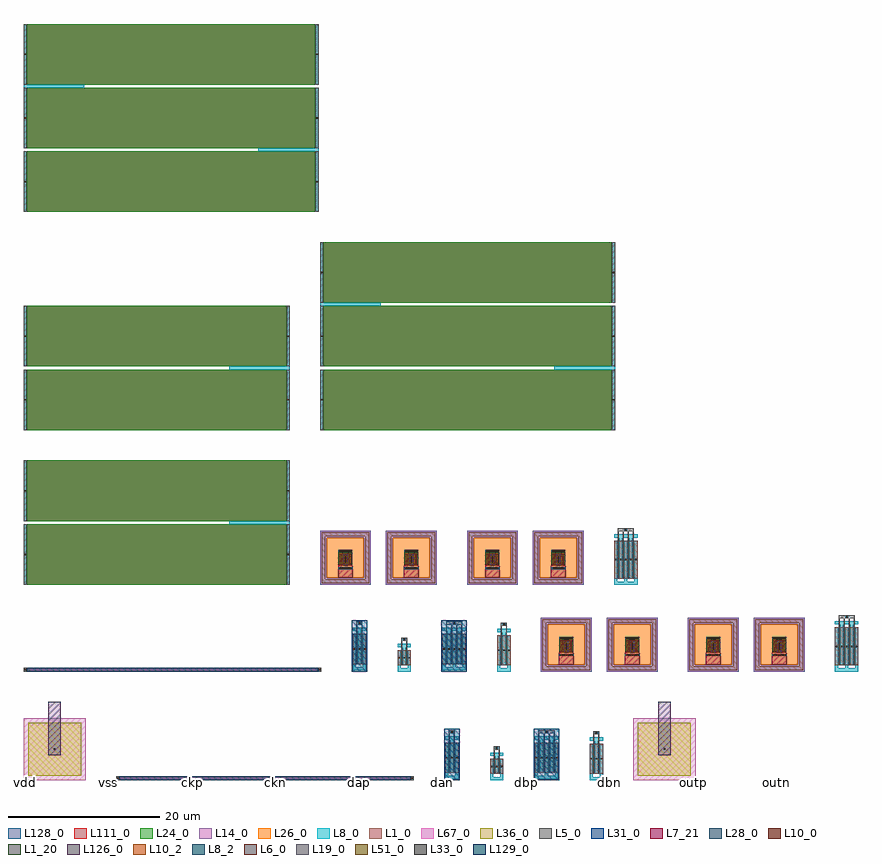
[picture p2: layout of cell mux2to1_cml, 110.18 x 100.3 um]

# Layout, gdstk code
import gdstk
lib = gdstk.Library(unit=1e-6, precision=1e-09)
def R(c, l, rs):  # rectangles x0, y0, x1, y1
    for r in rs: c.add(gdstk.rectangle(r[:2], r[2:], *l))
def A(c, l, x, y, w, h, nx, ny, dx, dy):  # array of equal rectangles
    R(c, l, [(x+i*dx, y+j*dy, x+i*dx+w, y+j*dy+h) for i in range(nx) for j in range(ny)])
def P(c, l, *ps):  # polygons
    for p in ps: c.add(gdstk.Polygon(p, *l))
L1_0 = (1, 0)
L1_20 = (1, 20)
L5_0 = (5, 0)
L6_0 = (6, 0)
L7_21 = (7, 21)
L8_0 = (8, 0)
L8_2 = (8, 2)
L10_0 = (10, 0)
L10_2 = (10, 2)
L14_0 = (14, 0)
L19_0 = (19, 0)
L24_0 = (24, 0)
L26_0 = (26, 0)
L28_0 = (28, 0)
L31_0 = (31, 0)
L33_0 = (33, 0)
L36_0 = (36, 0)
L51_0 = (51, 0)
L67_0 = (67, 0)
L111_0 = (111, 0)
L126_0 = (126, 0)
L128_0 = (128, 0)
L129_0 = (129, 0)

mux2to1_cml_xcca__core = lib.new_cell('mux2to1_cml_XCca__core')
R(mux2to1_cml_xcca__core, L36_0, [(0.6,0.6,7.6,7.6)])
R(mux2to1_cml_xcca__core, L67_0, [(0,0,8.2,8.2)])
R(mux2to1_cml_xcca__core, L126_0, [(3.28,3.28,4.92,4.92), (3.28,4.92,4.92,8.7), (3.28,8.7,4.92,10.34)])
R(mux2to1_cml_xcca__core, L129_0, [(3.99,3.99,4.21,4.21)])

mux2to1_cml_xcca = lib.new_cell('mux2to1_cml_XCca')
mux2to1_cml_xcca.add(gdstk.Reference(mux2to1_cml_xcca__core, (0,0)))

mux2to1_cml_xrfa__core = lib.new_cell('mux2to1_cml_XRfa__core')
R(mux2to1_cml_xrfa__core, L5_0, [(0,0,0.42,0.5), (38.88,0,39.3,0.5)])
R(mux2to1_cml_xrfa__core, L6_0, [(0.13,0.17,0.29,0.33), (39.01,0.17,39.17,0.33)])
R(mux2to1_cml_xrfa__core, L8_0, [(0,0,0.42,0.5), (38.88,0,39.3,0.5)])
R(mux2to1_cml_xrfa__core, L14_0, [(0.42,0,38.88,0.5)])
R(mux2to1_cml_xrfa__core, L28_0, [(0.42,0,38.88,0.5)])
R(mux2to1_cml_xrfa__core, L111_0, [(0.42,0,38.88,0.5)])
R(mux2to1_cml_xrfa__core, L128_0, [(0.42,0,38.88,0.5)])

mux2to1_cml_xrfa = lib.new_cell('mux2to1_cml_XRfa')
mux2to1_cml_xrfa.add(gdstk.Reference(mux2to1_cml_xrfa__core, (0,0)))

mux2to1_cml_xmp1a__core = lib.new_cell('mux2to1_cml_XMP1a__core')
R(mux2to1_cml_xmp1a__core, L1_0, [(0,0.82,1.76,4.82)])
R(mux2to1_cml_xmp1a__core, L5_0, [(0.48,0.82,0.61,6.04), (1.15,0.82,1.28,6.04), (0.48,6.04,1.28,6.46)])
A(mux2to1_cml_xmp1a__core, L6_0, 0.13, 2.74, 0.16, 0.16, 3, 1, 0.67, 0)
R(mux2to1_cml_xmp1a__core, L6_0, [(0.8,6.17,0.96,6.33)])
A(mux2to1_cml_xmp1a__core, L8_0, 0, 0.82, 0.42, 4, 3, 1, 0.67, 0)
R(mux2to1_cml_xmp1a__core, L8_0, [(0,0,1.76,0.42), (0,0.42,0.42,0.82), (1.34,0.42,1.76,0.82), (0.67,4.82,1.09,5.22), (0,5.22,1.76,5.64), (0.67,6.04,1.09,6.46)])
R(mux2to1_cml_xmp1a__core, L31_0, [(-0.15,-0.15,1.91,6.61)])

mux2to1_cml_xmp1a = lib.new_cell('mux2to1_cml_XMP1a')
mux2to1_cml_xmp1a.add(gdstk.Reference(mux2to1_cml_xmp1a__core, (0,0)))

mux2to1_cml_xmn1a__core = lib.new_cell('mux2to1_cml_XMN1a__core')
R(mux2to1_cml_xmn1a__core, L1_0, [(0,0.82,1.76,2.82)])
R(mux2to1_cml_xmn1a__core, L5_0, [(0.48,0.82,0.61,4.04), (1.15,0.82,1.28,4.04), (0.48,4.04,1.28,4.46)])
A(mux2to1_cml_xmn1a__core, L6_0, 0.13, 1.74, 0.16, 0.16, 3, 1, 0.67, 0)
R(mux2to1_cml_xmn1a__core, L6_0, [(0.8,4.17,0.96,4.33)])
A(mux2to1_cml_xmn1a__core, L8_0, 0, 0.82, 0.42, 2, 3, 1, 0.67, 0)
R(mux2to1_cml_xmn1a__core, L8_0, [(0,0,1.76,0.42), (0,0.42,0.42,0.82), (1.34,0.42,1.76,0.82), (0.67,2.82,1.09,3.22), (0,3.22,1.76,3.64), (0.67,4.04,1.09,4.46)])

mux2to1_cml_xmn1a = lib.new_cell('mux2to1_cml_XMN1a')
mux2to1_cml_xmn1a.add(gdstk.Reference(mux2to1_cml_xmn1a__core, (0,0)))

mux2to1_cml_xmp2a__core = lib.new_cell('mux2to1_cml_XMP2a__core')
R(mux2to1_cml_xmp2a__core, L1_0, [(0,0.82,3.1,4.82)])
A(mux2to1_cml_xmp2a__core, L5_0, 0.48, 0.82, 0.13, 5.22, 4, 1, 0.67, 0)
R(mux2to1_cml_xmp2a__core, L5_0, [(0.48,6.04,2.62,6.46)])
A(mux2to1_cml_xmp2a__core, L6_0, 0.13, 2.74, 0.16, 0.16, 5, 1, 0.67, 0)
R(mux2to1_cml_xmp2a__core, L6_0, [(1.47,6.17,1.63,6.33)])
A(mux2to1_cml_xmp2a__core, L8_0, 0, 0.42, 0.42, 0.4, 3, 1, 1.34, 0)
A(mux2to1_cml_xmp2a__core, L8_0, 0, 0.82, 0.42, 4, 5, 1, 0.67, 0)
R(mux2to1_cml_xmp2a__core, L8_0, [(0,0,3.1,0.42), (0.67,4.82,1.09,5.22), (2.01,4.82,2.43,5.22), (0,5.22,3.1,5.64), (1.34,6.04,1.76,6.46)])
R(mux2to1_cml_xmp2a__core, L31_0, [(-0.15,-0.15,3.25,6.61)])

mux2to1_cml_xmp2a = lib.new_cell('mux2to1_cml_XMP2a')
mux2to1_cml_xmp2a.add(gdstk.Reference(mux2to1_cml_xmp2a__core, (0,0)))

mux2to1_cml_xmn2a__core = lib.new_cell('mux2to1_cml_XMN2a__core')
R(mux2to1_cml_xmn2a__core, L1_0, [(0,0.82,1.76,4.82)])
R(mux2to1_cml_xmn2a__core, L5_0, [(0.48,0.82,0.61,6.04), (1.15,0.82,1.28,6.04), (0.48,6.04,1.28,6.46)])
A(mux2to1_cml_xmn2a__core, L6_0, 0.13, 2.74, 0.16, 0.16, 3, 1, 0.67, 0)
R(mux2to1_cml_xmn2a__core, L6_0, [(0.8,6.17,0.96,6.33)])
A(mux2to1_cml_xmn2a__core, L8_0, 0, 0.82, 0.42, 4, 3, 1, 0.67, 0)
R(mux2to1_cml_xmn2a__core, L8_0, [(0,0,1.76,0.42), (0,0.42,0.42,0.82), (1.34,0.42,1.76,0.82), (0.67,4.82,1.09,5.22), (0,5.22,1.76,5.64), (0.67,6.04,1.09,6.46)])

mux2to1_cml_xmn2a = lib.new_cell('mux2to1_cml_XMN2a')
mux2to1_cml_xmn2a.add(gdstk.Reference(mux2to1_cml_xmn2a__core, (0,0)))

mux2to1_cml_xccb__core = lib.new_cell('mux2to1_cml_XCcb__core')
R(mux2to1_cml_xccb__core, L36_0, [(0.6,0.6,7.6,7.6)])
R(mux2to1_cml_xccb__core, L67_0, [(0,0,8.2,8.2)])
R(mux2to1_cml_xccb__core, L126_0, [(3.28,3.28,4.92,4.92), (3.28,4.92,4.92,8.7), (3.28,8.7,4.92,10.34)])
R(mux2to1_cml_xccb__core, L129_0, [(3.99,3.99,4.21,4.21)])

mux2to1_cml_xccb = lib.new_cell('mux2to1_cml_XCcb')
mux2to1_cml_xccb.add(gdstk.Reference(mux2to1_cml_xccb__core, (0,0)))

mux2to1_cml_xrfb__core = lib.new_cell('mux2to1_cml_XRfb__core')
R(mux2to1_cml_xrfb__core, L5_0, [(0,0,0.42,0.5), (38.88,0,39.3,0.5)])
R(mux2to1_cml_xrfb__core, L6_0, [(0.13,0.17,0.29,0.33), (39.01,0.17,39.17,0.33)])
R(mux2to1_cml_xrfb__core, L8_0, [(0,0,0.42,0.5), (38.88,0,39.3,0.5)])
R(mux2to1_cml_xrfb__core, L14_0, [(0.42,0,38.88,0.5)])
R(mux2to1_cml_xrfb__core, L28_0, [(0.42,0,38.88,0.5)])
R(mux2to1_cml_xrfb__core, L111_0, [(0.42,0,38.88,0.5)])
R(mux2to1_cml_xrfb__core, L128_0, [(0.42,0,38.88,0.5)])

mux2to1_cml_xrfb = lib.new_cell('mux2to1_cml_XRfb')
mux2to1_cml_xrfb.add(gdstk.Reference(mux2to1_cml_xrfb__core, (0,0)))

mux2to1_cml_xmp1b__core = lib.new_cell('mux2to1_cml_XMP1b__core')
R(mux2to1_cml_xmp1b__core, L1_0, [(0,0.82,1.76,4.82)])
R(mux2to1_cml_xmp1b__core, L5_0, [(0.48,0.82,0.61,6.04), (1.15,0.82,1.28,6.04), (0.48,6.04,1.28,6.46)])
A(mux2to1_cml_xmp1b__core, L6_0, 0.13, 2.74, 0.16, 0.16, 3, 1, 0.67, 0)
R(mux2to1_cml_xmp1b__core, L6_0, [(0.8,6.17,0.96,6.33)])
A(mux2to1_cml_xmp1b__core, L8_0, 0, 0.82, 0.42, 4, 3, 1, 0.67, 0)
R(mux2to1_cml_xmp1b__core, L8_0, [(0,0,1.76,0.42), (0,0.42,0.42,0.82), (1.34,0.42,1.76,0.82), (0.67,4.82,1.09,5.22), (0,5.22,1.76,5.64), (0.67,6.04,1.09,6.46)])
R(mux2to1_cml_xmp1b__core, L31_0, [(-0.15,-0.15,1.91,6.61)])

mux2to1_cml_xmp1b = lib.new_cell('mux2to1_cml_XMP1b')
mux2to1_cml_xmp1b.add(gdstk.Reference(mux2to1_cml_xmp1b__core, (0,0)))

mux2to1_cml_xmn1b__core = lib.new_cell('mux2to1_cml_XMN1b__core')
R(mux2to1_cml_xmn1b__core, L1_0, [(0,0.82,1.76,2.82)])
R(mux2to1_cml_xmn1b__core, L5_0, [(0.48,0.82,0.61,4.04), (1.15,0.82,1.28,4.04), (0.48,4.04,1.28,4.46)])
A(mux2to1_cml_xmn1b__core, L6_0, 0.13, 1.74, 0.16, 0.16, 3, 1, 0.67, 0)
R(mux2to1_cml_xmn1b__core, L6_0, [(0.8,4.17,0.96,4.33)])
A(mux2to1_cml_xmn1b__core, L8_0, 0, 0.82, 0.42, 2, 3, 1, 0.67, 0)
R(mux2to1_cml_xmn1b__core, L8_0, [(0,0,1.76,0.42), (0,0.42,0.42,0.82), (1.34,0.42,1.76,0.82), (0.67,2.82,1.09,3.22), (0,3.22,1.76,3.64), (0.67,4.04,1.09,4.46)])

mux2to1_cml_xmn1b = lib.new_cell('mux2to1_cml_XMN1b')
mux2to1_cml_xmn1b.add(gdstk.Reference(mux2to1_cml_xmn1b__core, (0,0)))

mux2to1_cml_xmp2b__core = lib.new_cell('mux2to1_cml_XMP2b__core')
R(mux2to1_cml_xmp2b__core, L1_0, [(0,0.82,3.1,4.82)])
A(mux2to1_cml_xmp2b__core, L5_0, 0.48, 0.82, 0.13, 5.22, 4, 1, 0.67, 0)
R(mux2to1_cml_xmp2b__core, L5_0, [(0.48,6.04,2.62,6.46)])
A(mux2to1_cml_xmp2b__core, L6_0, 0.13, 2.74, 0.16, 0.16, 5, 1, 0.67, 0)
R(mux2to1_cml_xmp2b__core, L6_0, [(1.47,6.17,1.63,6.33)])
A(mux2to1_cml_xmp2b__core, L8_0, 0, 0.42, 0.42, 0.4, 3, 1, 1.34, 0)
A(mux2to1_cml_xmp2b__core, L8_0, 0, 0.82, 0.42, 4, 5, 1, 0.67, 0)
R(mux2to1_cml_xmp2b__core, L8_0, [(0,0,3.1,0.42), (0.67,4.82,1.09,5.22), (2.01,4.82,2.43,5.22), (0,5.22,3.1,5.64), (1.34,6.04,1.76,6.46)])
R(mux2to1_cml_xmp2b__core, L31_0, [(-0.15,-0.15,3.25,6.61)])

mux2to1_cml_xmp2b = lib.new_cell('mux2to1_cml_XMP2b')
mux2to1_cml_xmp2b.add(gdstk.Reference(mux2to1_cml_xmp2b__core, (0,0)))

mux2to1_cml_xmn2b__core = lib.new_cell('mux2to1_cml_XMN2b__core')
R(mux2to1_cml_xmn2b__core, L1_0, [(0,0.82,1.76,4.82)])
R(mux2to1_cml_xmn2b__core, L5_0, [(0.48,0.82,0.61,6.04), (1.15,0.82,1.28,6.04), (0.48,6.04,1.28,6.46)])
A(mux2to1_cml_xmn2b__core, L6_0, 0.13, 2.74, 0.16, 0.16, 3, 1, 0.67, 0)
R(mux2to1_cml_xmn2b__core, L6_0, [(0.8,6.17,0.96,6.33)])
A(mux2to1_cml_xmn2b__core, L8_0, 0, 0.82, 0.42, 4, 3, 1, 0.67, 0)
R(mux2to1_cml_xmn2b__core, L8_0, [(0,0,1.76,0.42), (0,0.42,0.42,0.82), (1.34,0.42,1.76,0.82), (0.67,4.82,1.09,5.22), (0,5.22,1.76,5.64), (0.67,6.04,1.09,6.46)])

mux2to1_cml_xmn2b = lib.new_cell('mux2to1_cml_XMN2b')
mux2to1_cml_xmn2b.add(gdstk.Reference(mux2to1_cml_xmn2b__core, (0,0)))

npn13g2_base_cdns_675179 = lib.new_cell('npn13G2_base_CDNS_675179387640$1')
R(npn13g2_base_cdns_675179, L1_0, [(-0.925,-1.28,0.925,-0.98)])
P(npn13g2_base_cdns_675179, L1_20, [(-0.925,-0.98),(-0.925,0.62),(-0.445,0.62),(-0.235,0.83),(0.235,0.83),(0.445,0.62),(0.925,0.62),(0.925,-0.98)])
R(npn13g2_base_cdns_675179, L6_0, [(-0.825,-1.21,0.825,-1.05), (-0.76,1.06,0.76,1.22)])
P(npn13g2_base_cdns_675179, L7_21, [(-0.305,-0.94),(-0.555,-0.69),(-0.555,0.48),(-0.975,0.9),(-0.975,2.43),(0.975,2.43),(0.975,0.9),(0.555,0.48),(0.555,-0.69),(0.305,-0.94)])
R(npn13g2_base_cdns_675179, L8_0, [(-0.925,-1.25,0.925,-1.01), (-0.35,-0.77,0.35,0.785), (-0.975,1.02,0.975,1.26)])
R(npn13g2_base_cdns_675179, L10_0, [(-0.925,-0.77,0.925,0.785)])
A(npn13g2_base_cdns_675179, L19_0, -0.3, -0.7, 0.19, 0.19, 1, 4, 0, 0.41)
A(npn13g2_base_cdns_675179, L19_0, 0.11, -0.7, 0.19, 0.19, 1, 4, 0, 0.41)
R(npn13g2_base_cdns_675179, L33_0, [(-0.035,-0.45,0.035,0.45), (-0.035,-0.45,0.035,0.45)])
R(npn13g2_base_cdns_675179, L51_0, [(-0.085,-0.5,0.085,0.5)])
npn13g2_base_cdns_675179.add(gdstk.Label('npn13G2', (0.015,-2.31), layer=63, texttype=0))
npn13g2_base_cdns_675179.add(gdstk.Label('npn13G2_base', (0,0), layer=51, texttype=0))

npn13g2_1 = lib.new_cell('npn13G2$1')
P(npn13g2_1, L1_0, [(-3.15,-3.13),(-3.15,3.58),(2.65,3.58),(2.65,3.08),(-2.65,3.08),(-2.65,-2.63),(2.65,-2.63),(2.65,3.58),(3.15,3.58),(3.15,-3.13)])
R(npn13g2_1, L8_2, [(-0.965,-1.26,0.975,-1.02), (-0.915,1.01,0.925,1.25)])
R(npn13g2_1, L10_2, [(-0.745,-0.78,0.745,0.77)])
P(npn13g2_1, L14_0, [(-3.35,-3.33),(-3.35,3.78),(2.45,3.78),(2.45,2.88),(-2.45,2.88),(-2.45,-2.43),(2.45,-2.43),(2.45,3.78),(3.35,3.78),(3.35,-3.33)])
R(npn13g2_1, L26_0, [(-2.45,-2.43,2.45,2.88)])
npn13g2_1.add(gdstk.Reference(npn13g2_base_cdns_675179, (0,0), x_reflection=True))
npn13g2_1.add(gdstk.Label('Ae=1*1*0.07*0.90', (-1.977,-2.546), layer=63, texttype=0))
npn13g2_1.add(gdstk.Label('E', (0,-0.005), layer=63, texttype=0))
npn13g2_1.add(gdstk.Label('B', (0.005,-1.14), layer=63, texttype=0))
npn13g2_1.add(gdstk.Label('C', (0.005,1.13), layer=63, texttype=0))

mux2to1_cml_xqa1 = lib.new_cell('mux2to1_cml_XQa1')
mux2to1_cml_xqa1.add(gdstk.Reference(npn13g2_1, (3.35,3.33)))
mux2to1_cml_xqa1.add(gdstk.Reference(npn13g2_1, (12.05,3.33)))

c_npn13g2_base_cdns_675179 = lib.new_cell('npn13G2_base_CDNS_675179387640$1$1')
R(c_npn13g2_base_cdns_675179, L1_0, [(-0.925,-1.28,0.925,-0.98)])
P(c_npn13g2_base_cdns_675179, L1_20, [(-0.925,-0.98),(-0.925,0.62),(-0.445,0.62),(-0.235,0.83),(0.235,0.83),(0.445,0.62),(0.925,0.62),(0.925,-0.98)])
R(c_npn13g2_base_cdns_675179, L6_0, [(-0.825,-1.21,0.825,-1.05), (-0.76,1.06,0.76,1.22)])
P(c_npn13g2_base_cdns_675179, L7_21, [(-0.305,-0.94),(-0.555,-0.69),(-0.555,0.48),(-0.975,0.9),(-0.975,2.43),(0.975,2.43),(0.975,0.9),(0.555,0.48),(0.555,-0.69),(0.305,-0.94)])
R(c_npn13g2_base_cdns_675179, L8_0, [(-0.925,-1.25,0.925,-1.01), (-0.35,-0.77,0.35,0.785), (-0.975,1.02,0.975,1.26)])
R(c_npn13g2_base_cdns_675179, L10_0, [(-0.925,-0.77,0.925,0.785)])
A(c_npn13g2_base_cdns_675179, L19_0, -0.3, -0.7, 0.19, 0.19, 1, 4, 0, 0.41)
A(c_npn13g2_base_cdns_675179, L19_0, 0.11, -0.7, 0.19, 0.19, 1, 4, 0, 0.41)
R(c_npn13g2_base_cdns_675179, L33_0, [(-0.035,-0.45,0.035,0.45), (-0.035,-0.45,0.035,0.45)])
R(c_npn13g2_base_cdns_675179, L51_0, [(-0.085,-0.5,0.085,0.5)])
c_npn13g2_base_cdns_675179.add(gdstk.Label('npn13G2', (0.015,-2.31), layer=63, texttype=0))
c_npn13g2_base_cdns_675179.add(gdstk.Label('npn13G2_base', (0,0), layer=51, texttype=0))

npn13g2_1_1 = lib.new_cell('npn13G2$1$1')
P(npn13g2_1_1, L1_0, [(-3.15,-3.13),(-3.15,3.58),(2.65,3.58),(2.65,3.08),(-2.65,3.08),(-2.65,-2.63),(2.65,-2.63),(2.65,3.58),(3.15,3.58),(3.15,-3.13)])
R(npn13g2_1_1, L8_2, [(-0.965,-1.26,0.975,-1.02), (-0.915,1.01,0.925,1.25)])
R(npn13g2_1_1, L10_2, [(-0.745,-0.78,0.745,0.77)])
P(npn13g2_1_1, L14_0, [(-3.35,-3.33),(-3.35,3.78),(2.45,3.78),(2.45,2.88),(-2.45,2.88),(-2.45,-2.43),(2.45,-2.43),(2.45,3.78),(3.35,3.78),(3.35,-3.33)])
R(npn13g2_1_1, L26_0, [(-2.45,-2.43,2.45,2.88)])
npn13g2_1_1.add(gdstk.Reference(c_npn13g2_base_cdns_675179, (0,0), x_reflection=True))
npn13g2_1_1.add(gdstk.Label('Ae=1*1*0.07*0.90', (-1.977,-2.546), layer=63, texttype=0))
npn13g2_1_1.add(gdstk.Label('E', (0,-0.005), layer=63, texttype=0))
npn13g2_1_1.add(gdstk.Label('B', (0.005,-1.14), layer=63, texttype=0))
npn13g2_1_1.add(gdstk.Label('C', (0.005,1.13), layer=63, texttype=0))

mux2to1_cml_xqa2 = lib.new_cell('mux2to1_cml_XQa2')
mux2to1_cml_xqa2.add(gdstk.Reference(npn13g2_1_1, (3.35,3.33)))
mux2to1_cml_xqa2.add(gdstk.Reference(npn13g2_1_1, (12.05,3.33)))

mux2to1_cml_xmta__core = lib.new_cell('mux2to1_cml_XMTa__core')
R(mux2to1_cml_xmta__core, L1_0, [(0,0.82,3.1,5.82)])
A(mux2to1_cml_xmta__core, L5_0, 0.48, 0.82, 0.13, 6.22, 4, 1, 0.67, 0)
R(mux2to1_cml_xmta__core, L5_0, [(0.48,7.04,2.62,7.46)])
A(mux2to1_cml_xmta__core, L6_0, 0.13, 3.24, 0.16, 0.16, 5, 1, 0.67, 0)
R(mux2to1_cml_xmta__core, L6_0, [(1.47,7.17,1.63,7.33)])
A(mux2to1_cml_xmta__core, L8_0, 0, 0.42, 0.42, 0.4, 3, 1, 1.34, 0)
A(mux2to1_cml_xmta__core, L8_0, 0, 0.82, 0.42, 5, 5, 1, 0.67, 0)
R(mux2to1_cml_xmta__core, L8_0, [(0,0,3.1,0.42), (0.67,5.82,1.09,6.22), (2.01,5.82,2.43,6.22), (0,6.22,3.1,6.64), (1.34,7.04,1.76,7.46)])

mux2to1_cml_xmta = lib.new_cell('mux2to1_cml_XMTa')
mux2to1_cml_xmta.add(gdstk.Reference(mux2to1_cml_xmta__core, (0,0)))

mux2to1_cml_xrsa__core = lib.new_cell('mux2to1_cml_XRsa__core')
R(mux2to1_cml_xrsa__core, L5_0, [(0,0,0.42,8), (34.705,0,35.125,8), (0,8.4,0.42,16.4), (34.705,8.4,35.125,16.4)])
R(mux2to1_cml_xrsa__core, L6_0, [(0.13,3.92,0.29,4.08), (34.835,3.92,34.995,4.08), (0.13,12.32,0.29,12.48), (34.835,12.32,34.995,12.48)])
R(mux2to1_cml_xrsa__core, L8_0, [(0,0,0.42,8), (34.705,0,35.125,8), (27.125,8,35.125,8.4), (0,8.4,0.42,16.4), (34.705,8.4,35.125,16.4)])
R(mux2to1_cml_xrsa__core, L24_0, [(0.42,0,34.705,8), (0.42,8.4,34.705,16.4)])
R(mux2to1_cml_xrsa__core, L111_0, [(0.42,0,34.705,8), (0.42,8.4,34.705,16.4)])
R(mux2to1_cml_xrsa__core, L128_0, [(0.42,0,34.705,8), (0.42,8.4,34.705,16.4)])

mux2to1_cml_xrsa = lib.new_cell('mux2to1_cml_XRsa')
mux2to1_cml_xrsa.add(gdstk.Reference(mux2to1_cml_xrsa__core, (0,0)))

c_npn13g2_base_cdns_675179_ = lib.new_cell('npn13G2_base_CDNS_675179387640$2')
R(c_npn13g2_base_cdns_675179_, L1_0, [(-0.925,-1.28,0.925,-0.98)])
P(c_npn13g2_base_cdns_675179_, L1_20, [(-0.925,-0.98),(-0.925,0.62),(-0.445,0.62),(-0.235,0.83),(0.235,0.83),(0.445,0.62),(0.925,0.62),(0.925,-0.98)])
R(c_npn13g2_base_cdns_675179_, L6_0, [(-0.825,-1.21,0.825,-1.05), (-0.76,1.06,0.76,1.22)])
P(c_npn13g2_base_cdns_675179_, L7_21, [(-0.305,-0.94),(-0.555,-0.69),(-0.555,0.48),(-0.975,0.9),(-0.975,2.43),(0.975,2.43),(0.975,0.9),(0.555,0.48),(0.555,-0.69),(0.305,-0.94)])
R(c_npn13g2_base_cdns_675179_, L8_0, [(-0.925,-1.25,0.925,-1.01), (-0.35,-0.77,0.35,0.785), (-0.975,1.02,0.975,1.26)])
R(c_npn13g2_base_cdns_675179_, L10_0, [(-0.925,-0.77,0.925,0.785)])
A(c_npn13g2_base_cdns_675179_, L19_0, -0.3, -0.7, 0.19, 0.19, 1, 4, 0, 0.41)
A(c_npn13g2_base_cdns_675179_, L19_0, 0.11, -0.7, 0.19, 0.19, 1, 4, 0, 0.41)
R(c_npn13g2_base_cdns_675179_, L33_0, [(-0.035,-0.45,0.035,0.45), (-0.035,-0.45,0.035,0.45)])
R(c_npn13g2_base_cdns_675179_, L51_0, [(-0.085,-0.5,0.085,0.5)])
c_npn13g2_base_cdns_675179_.add(gdstk.Label('npn13G2', (0.015,-2.31), layer=63, texttype=0))
c_npn13g2_base_cdns_675179_.add(gdstk.Label('npn13G2_base', (0,0), layer=51, texttype=0))

npn13g2_2 = lib.new_cell('npn13G2$2')
P(npn13g2_2, L1_0, [(-3.15,-3.13),(-3.15,3.58),(2.65,3.58),(2.65,3.08),(-2.65,3.08),(-2.65,-2.63),(2.65,-2.63),(2.65,3.58),(3.15,3.58),(3.15,-3.13)])
R(npn13g2_2, L8_2, [(-0.965,-1.26,0.975,-1.02), (-0.915,1.01,0.925,1.25)])
R(npn13g2_2, L10_2, [(-0.745,-0.78,0.745,0.77)])
P(npn13g2_2, L14_0, [(-3.35,-3.33),(-3.35,3.78),(2.45,3.78),(2.45,2.88),(-2.45,2.88),(-2.45,-2.43),(2.45,-2.43),(2.45,3.78),(3.35,3.78),(3.35,-3.33)])
R(npn13g2_2, L26_0, [(-2.45,-2.43,2.45,2.88)])
npn13g2_2.add(gdstk.Reference(c_npn13g2_base_cdns_675179_, (0,0), x_reflection=True))
npn13g2_2.add(gdstk.Label('Ae=1*1*0.07*0.90', (-1.977,-2.546), layer=63, texttype=0))
npn13g2_2.add(gdstk.Label('E', (0,-0.005), layer=63, texttype=0))
npn13g2_2.add(gdstk.Label('B', (0.005,-1.14), layer=63, texttype=0))
npn13g2_2.add(gdstk.Label('C', (0.005,1.13), layer=63, texttype=0))

mux2to1_cml_xqb1 = lib.new_cell('mux2to1_cml_XQb1')
mux2to1_cml_xqb1.add(gdstk.Reference(npn13g2_2, (3.35,3.33)))
mux2to1_cml_xqb1.add(gdstk.Reference(npn13g2_2, (12.05,3.33)))

c_npn13g2_base_cdns_675179__ = lib.new_cell('npn13G2_base_CDNS_675179387640$3')
R(c_npn13g2_base_cdns_675179__, L1_0, [(-0.925,-1.28,0.925,-0.98)])
P(c_npn13g2_base_cdns_675179__, L1_20, [(-0.925,-0.98),(-0.925,0.62),(-0.445,0.62),(-0.235,0.83),(0.235,0.83),(0.445,0.62),(0.925,0.62),(0.925,-0.98)])
R(c_npn13g2_base_cdns_675179__, L6_0, [(-0.825,-1.21,0.825,-1.05), (-0.76,1.06,0.76,1.22)])
P(c_npn13g2_base_cdns_675179__, L7_21, [(-0.305,-0.94),(-0.555,-0.69),(-0.555,0.48),(-0.975,0.9),(-0.975,2.43),(0.975,2.43),(0.975,0.9),(0.555,0.48),(0.555,-0.69),(0.305,-0.94)])
R(c_npn13g2_base_cdns_675179__, L8_0, [(-0.925,-1.25,0.925,-1.01), (-0.35,-0.77,0.35,0.785), (-0.975,1.02,0.975,1.26)])
R(c_npn13g2_base_cdns_675179__, L10_0, [(-0.925,-0.77,0.925,0.785)])
A(c_npn13g2_base_cdns_675179__, L19_0, -0.3, -0.7, 0.19, 0.19, 1, 4, 0, 0.41)
A(c_npn13g2_base_cdns_675179__, L19_0, 0.11, -0.7, 0.19, 0.19, 1, 4, 0, 0.41)
R(c_npn13g2_base_cdns_675179__, L33_0, [(-0.035,-0.45,0.035,0.45), (-0.035,-0.45,0.035,0.45)])
R(c_npn13g2_base_cdns_675179__, L51_0, [(-0.085,-0.5,0.085,0.5)])
c_npn13g2_base_cdns_675179__.add(gdstk.Label('npn13G2', (0.015,-2.31), layer=63, texttype=0))
c_npn13g2_base_cdns_675179__.add(gdstk.Label('npn13G2_base', (0,0), layer=51, texttype=0))

npn13g2_3 = lib.new_cell('npn13G2$3')
P(npn13g2_3, L1_0, [(-3.15,-3.13),(-3.15,3.58),(2.65,3.58),(2.65,3.08),(-2.65,3.08),(-2.65,-2.63),(2.65,-2.63),(2.65,3.58),(3.15,3.58),(3.15,-3.13)])
R(npn13g2_3, L8_2, [(-0.965,-1.26,0.975,-1.02), (-0.915,1.01,0.925,1.25)])
R(npn13g2_3, L10_2, [(-0.745,-0.78,0.745,0.77)])
P(npn13g2_3, L14_0, [(-3.35,-3.33),(-3.35,3.78),(2.45,3.78),(2.45,2.88),(-2.45,2.88),(-2.45,-2.43),(2.45,-2.43),(2.45,3.78),(3.35,3.78),(3.35,-3.33)])
R(npn13g2_3, L26_0, [(-2.45,-2.43,2.45,2.88)])
npn13g2_3.add(gdstk.Reference(c_npn13g2_base_cdns_675179__, (0,0), x_reflection=True))
npn13g2_3.add(gdstk.Label('Ae=1*1*0.07*0.90', (-1.977,-2.546), layer=63, texttype=0))
npn13g2_3.add(gdstk.Label('E', (0,-0.005), layer=63, texttype=0))
npn13g2_3.add(gdstk.Label('B', (0.005,-1.14), layer=63, texttype=0))
npn13g2_3.add(gdstk.Label('C', (0.005,1.13), layer=63, texttype=0))

mux2to1_cml_xqb2 = lib.new_cell('mux2to1_cml_XQb2')
mux2to1_cml_xqb2.add(gdstk.Reference(npn13g2_3, (3.35,3.33)))
mux2to1_cml_xqb2.add(gdstk.Reference(npn13g2_3, (12.05,3.33)))

mux2to1_cml_xmtb__core = lib.new_cell('mux2to1_cml_XMTb__core')
R(mux2to1_cml_xmtb__core, L1_0, [(0,0.82,3.1,5.82)])
A(mux2to1_cml_xmtb__core, L5_0, 0.48, 0.82, 0.13, 6.22, 4, 1, 0.67, 0)
R(mux2to1_cml_xmtb__core, L5_0, [(0.48,7.04,2.62,7.46)])
A(mux2to1_cml_xmtb__core, L6_0, 0.13, 3.24, 0.16, 0.16, 5, 1, 0.67, 0)
R(mux2to1_cml_xmtb__core, L6_0, [(1.47,7.17,1.63,7.33)])
A(mux2to1_cml_xmtb__core, L8_0, 0, 0.42, 0.42, 0.4, 3, 1, 1.34, 0)
A(mux2to1_cml_xmtb__core, L8_0, 0, 0.82, 0.42, 5, 5, 1, 0.67, 0)
R(mux2to1_cml_xmtb__core, L8_0, [(0,0,3.1,0.42), (0.67,5.82,1.09,6.22), (2.01,5.82,2.43,6.22), (0,6.22,3.1,6.64), (1.34,7.04,1.76,7.46)])

mux2to1_cml_xmtb = lib.new_cell('mux2to1_cml_XMTb')
mux2to1_cml_xmtb.add(gdstk.Reference(mux2to1_cml_xmtb__core, (0,0)))

mux2to1_cml_xrsb__core = lib.new_cell('mux2to1_cml_XRsb__core')
R(mux2to1_cml_xrsb__core, L5_0, [(0,0,0.42,8), (34.705,0,35.125,8), (0,8.4,0.42,16.4), (34.705,8.4,35.125,16.4)])
R(mux2to1_cml_xrsb__core, L6_0, [(0.13,3.92,0.29,4.08), (34.835,3.92,34.995,4.08), (0.13,12.32,0.29,12.48), (34.835,12.32,34.995,12.48)])
R(mux2to1_cml_xrsb__core, L8_0, [(0,0,0.42,8), (34.705,0,35.125,8), (27.125,8,35.125,8.4), (0,8.4,0.42,16.4), (34.705,8.4,35.125,16.4)])
R(mux2to1_cml_xrsb__core, L24_0, [(0.42,0,34.705,8), (0.42,8.4,34.705,16.4)])
R(mux2to1_cml_xrsb__core, L111_0, [(0.42,0,34.705,8), (0.42,8.4,34.705,16.4)])
R(mux2to1_cml_xrsb__core, L128_0, [(0.42,0,34.705,8), (0.42,8.4,34.705,16.4)])

mux2to1_cml_xrsb = lib.new_cell('mux2to1_cml_XRsb')
mux2to1_cml_xrsb.add(gdstk.Reference(mux2to1_cml_xrsb__core, (0,0)))

mux2to1_cml_xrlp__core = lib.new_cell('mux2to1_cml_XRLp__core')
A(mux2to1_cml_xrlp__core, L5_0, 0, 0, 0.42, 8, 1, 3, 0, 8.4)
A(mux2to1_cml_xrlp__core, L5_0, 38.52, 0, 0.42, 8, 1, 3, 0, 8.4)
A(mux2to1_cml_xrlp__core, L6_0, 0.13, 3.92, 0.16, 0.16, 1, 3, 0, 8.4)
A(mux2to1_cml_xrlp__core, L6_0, 38.65, 3.92, 0.16, 0.16, 1, 3, 0, 8.4)
A(mux2to1_cml_xrlp__core, L8_0, 0, 0, 0.42, 8, 1, 3, 0, 8.4)
A(mux2to1_cml_xrlp__core, L8_0, 38.52, 0, 0.42, 8, 1, 3, 0, 8.4)
R(mux2to1_cml_xrlp__core, L8_0, [(30.94,8,38.94,8.4), (0,16.4,8,16.8)])
A(mux2to1_cml_xrlp__core, L24_0, 0.42, 0, 38.1, 8, 1, 3, 0, 8.4)
A(mux2to1_cml_xrlp__core, L111_0, 0.42, 0, 38.1, 8, 1, 3, 0, 8.4)
A(mux2to1_cml_xrlp__core, L128_0, 0.42, 0, 38.1, 8, 1, 3, 0, 8.4)

mux2to1_cml_xrlp = lib.new_cell('mux2to1_cml_XRLp')
mux2to1_cml_xrlp.add(gdstk.Reference(mux2to1_cml_xrlp__core, (0,0)))

mux2to1_cml_xrln__core = lib.new_cell('mux2to1_cml_XRLn__core')
A(mux2to1_cml_xrln__core, L5_0, 0, 0, 0.42, 8, 1, 3, 0, 8.4)
A(mux2to1_cml_xrln__core, L5_0, 38.52, 0, 0.42, 8, 1, 3, 0, 8.4)
A(mux2to1_cml_xrln__core, L6_0, 0.13, 3.92, 0.16, 0.16, 1, 3, 0, 8.4)
A(mux2to1_cml_xrln__core, L6_0, 38.65, 3.92, 0.16, 0.16, 1, 3, 0, 8.4)
A(mux2to1_cml_xrln__core, L8_0, 0, 0, 0.42, 8, 1, 3, 0, 8.4)
A(mux2to1_cml_xrln__core, L8_0, 38.52, 0, 0.42, 8, 1, 3, 0, 8.4)
R(mux2to1_cml_xrln__core, L8_0, [(30.94,8,38.94,8.4), (0,16.4,8,16.8)])
A(mux2to1_cml_xrln__core, L24_0, 0.42, 0, 38.1, 8, 1, 3, 0, 8.4)
A(mux2to1_cml_xrln__core, L111_0, 0.42, 0, 38.1, 8, 1, 3, 0, 8.4)
A(mux2to1_cml_xrln__core, L128_0, 0.42, 0, 38.1, 8, 1, 3, 0, 8.4)

mux2to1_cml_xrln = lib.new_cell('mux2to1_cml_XRLn')
mux2to1_cml_xrln.add(gdstk.Reference(mux2to1_cml_xrln__core, (0,0)))

mux2to1_cml = lib.new_cell('mux2to1_cml')
A(mux2to1_cml, L10_0, 0, -0.5, 0.5, 0.5, 10, 1, 11.018, 0)
A(mux2to1_cml, L10_2, 0, -0.5, 0.5, 0.5, 10, 1, 11.018, 0)
mux2to1_cml.add(gdstk.Reference(mux2to1_cml_xcca, (0,0)))
mux2to1_cml.add(gdstk.Reference(mux2to1_cml_xrfa, (12.2,0)))
mux2to1_cml.add(gdstk.Reference(mux2to1_cml_xmp1a, (55.65,0.15)))
mux2to1_cml.add(gdstk.Reference(mux2to1_cml_xmn1a, (61.56,0)))
mux2to1_cml.add(gdstk.Reference(mux2to1_cml_xmp2a, (67.47,0.15)))
mux2to1_cml.add(gdstk.Reference(mux2to1_cml_xmn2a, (74.72,0)))
mux2to1_cml.add(gdstk.Reference(mux2to1_cml_xccb, (80.48,0)))
mux2to1_cml.add(gdstk.Reference(mux2to1_cml_xrfb, (0,14.34)))
mux2to1_cml.add(gdstk.Reference(mux2to1_cml_xmp1b, (43.45,14.49)))
mux2to1_cml.add(gdstk.Reference(mux2to1_cml_xmn1b, (49.36,14.34)))
mux2to1_cml.add(gdstk.Reference(mux2to1_cml_xmp2b, (55.27,14.49)))
mux2to1_cml.add(gdstk.Reference(mux2to1_cml_xmn2b, (62.52,14.34)))
mux2to1_cml.add(gdstk.Reference(mux2to1_cml_xqa1, (68.28,14.34)))
mux2to1_cml.add(gdstk.Reference(mux2to1_cml_xqa2, (87.68,14.34)))
mux2to1_cml.add(gdstk.Reference(mux2to1_cml_xmta, (107.08,14.34)))
mux2to1_cml.add(gdstk.Reference(mux2to1_cml_xrsa, (0,25.8)))
mux2to1_cml.add(gdstk.Reference(mux2to1_cml_xqb1, (39.125,25.8)))
mux2to1_cml.add(gdstk.Reference(mux2to1_cml_xqb2, (58.525,25.8)))
mux2to1_cml.add(gdstk.Reference(mux2to1_cml_xmtb, (77.925,25.8)))
mux2to1_cml.add(gdstk.Reference(mux2to1_cml_xrsb, (0,46.2)))
mux2to1_cml.add(gdstk.Reference(mux2to1_cml_xrlp, (39.125,46.2)))
mux2to1_cml.add(gdstk.Reference(mux2to1_cml_xrln, (0,75)))
mux2to1_cml.add(gdstk.Label('vdd', (0.25,-0.25), layer=10, texttype=25))
mux2to1_cml.add(gdstk.Label('vss', (11.268,-0.25), layer=10, texttype=25))
mux2to1_cml.add(gdstk.Label('ckp', (22.286,-0.25), layer=10, texttype=25))
mux2to1_cml.add(gdstk.Label('ckn', (33.304,-0.25), layer=10, texttype=25))
mux2to1_cml.add(gdstk.Label('dap', (44.322,-0.25), layer=10, texttype=25))
mux2to1_cml.add(gdstk.Label('dan', (55.34,-0.25), layer=10, texttype=25))
mux2to1_cml.add(gdstk.Label('dbp', (66.358,-0.25), layer=10, texttype=25))
mux2to1_cml.add(gdstk.Label('dbn', (77.376,-0.25), layer=10, texttype=25))
mux2to1_cml.add(gdstk.Label('outp', (88.394,-0.25), layer=10, texttype=25))
mux2to1_cml.add(gdstk.Label('outn', (99.412,-0.25), layer=10, texttype=25))

lib.write_gds('mux2to1_cml.gds')
